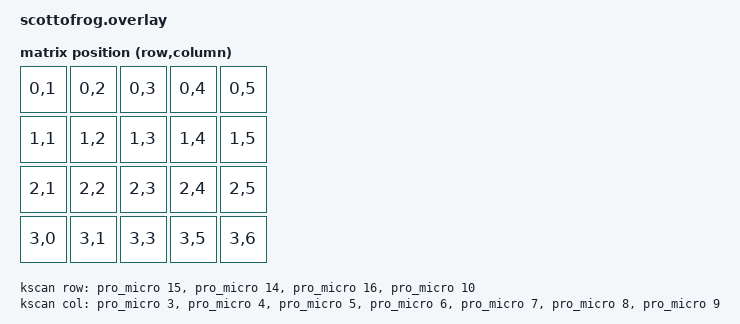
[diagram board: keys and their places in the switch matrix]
#include <dt-bindings/zmk/matrix_transform.h>

/ {
    chosen {
        zmk,kscan = &kscan;
        zmk,matrix_transform = &transform;
    };

    kscan: kscan {
        compatible = "zmk,kscan-gpio-matrix";
        label = "KSCAN";
        diode-direction = "col2row";

        row-gpios = <&pro_micro 15 (GPIO_ACTIVE_HIGH | GPIO_PULL_DOWN)>,
                    <&pro_micro 14 (GPIO_ACTIVE_HIGH | GPIO_PULL_DOWN)>,
                    <&pro_micro 16 (GPIO_ACTIVE_HIGH | GPIO_PULL_DOWN)>,
                    <&pro_micro 10 (GPIO_ACTIVE_HIGH | GPIO_PULL_DOWN)>;

        col-gpios = <&pro_micro 3 (GPIO_ACTIVE_HIGH)>,
                    <&pro_micro 4 (GPIO_ACTIVE_HIGH)>,
                    <&pro_micro 5 (GPIO_ACTIVE_HIGH)>,
                    <&pro_micro 6 (GPIO_ACTIVE_HIGH)>,
                    <&pro_micro 7 (GPIO_ACTIVE_HIGH)>,
                    <&pro_micro 8 (GPIO_ACTIVE_HIGH)>,
                    <&pro_micro 9 (GPIO_ACTIVE_HIGH)>;
    };

    transform: matrix_transform {
        compatible = "zmk,matrix-transform";
        rows = <4>;
        columns = <7>;

        map = <
                     RC(0, 1) RC(0, 2) RC(0, 3) RC(0, 4) RC(0, 5)
                     RC(1, 1) RC(1, 2) RC(1, 3) RC(1, 4) RC(1, 5)
                     RC(2, 1) RC(2, 2) RC(2, 3) RC(2, 4) RC(2, 5)
            RC(3, 0) RC(3, 1)          RC(3, 3)          RC(3, 5) RC(3, 6)
        >;
    };
};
